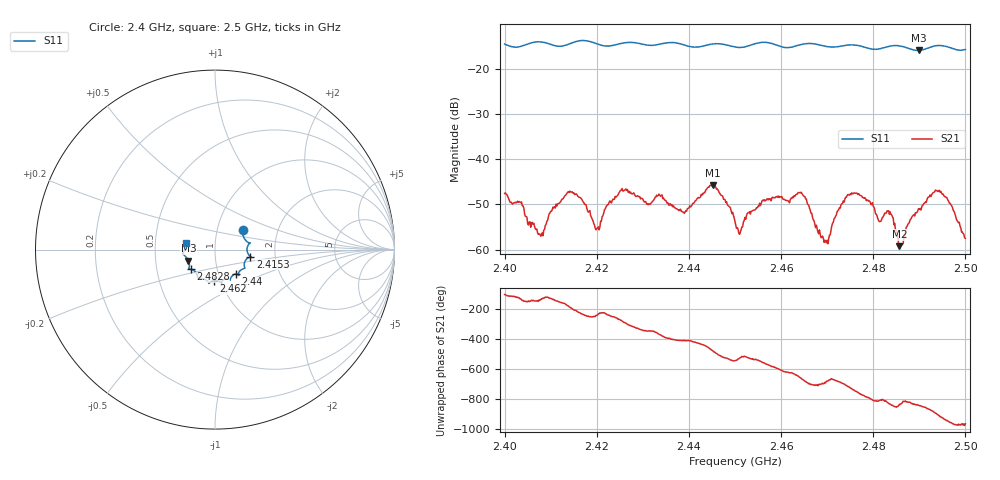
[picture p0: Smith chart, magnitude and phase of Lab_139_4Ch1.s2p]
# Hz S RI R 50
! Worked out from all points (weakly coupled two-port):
!   601 points, 2.4 GHz to 2.5 GHz, reference 50 ohm
!   highest |S21| = -45.72 dB at 2.4452 GHz (marker M1); lowest = -59.2 dB at 2.4857 GHz (marker M2)
!   lowest |S11| = -15.9 dB at 2.4898 GHz (marker M3), VSWR 1.38, Z = 36.9 - j4.62 ohm
!   |S11| at or under -10 dB: start of sweep to end of sweep
!   S12 and S22 are empty: the file has one direction only
!   S11 on the Smith chart (normalised r, x): 2.4 GHz: 1.33, +0.29; 2.4153 GHz: 1.48, -0.12; 2.44 GHz: 1.21, -0.34; 2.462 GHz: 0.93, -0.33; 2.4828 GHz: 0.74, -0.17; 2.5 GHz: 0.72, +0.06
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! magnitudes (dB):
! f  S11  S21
! 2.4 GHz  -14.5  -47.6
! 2.4078 GHz  -14.0  -57.0
! 2.4103 GHz  -14.7  -51.2
! 2.4153 GHz  -14.0  -47.8
! 2.4167 GHz  -13.7  -48.7
! 2.4202 GHz  -14.5  -55.2
! 2.4253 GHz  -14.3  -46.8
! 2.4333 GHz  -14.6  -48.0
! 2.44 GHz  -15.0  -50.8
! 2.4452 GHz  -14.5  -45.7
! 2.45 GHz  -15.1  -53.8
! 2.462 GHz  -15.2  -48.9
! 2.4643 GHz  -14.6  -47.3
! 2.4667 GHz  -14.4  -52.0
! 2.4698 GHz  -15.0  -58.5
! 2.4748 GHz  -14.7  -47.9
! 2.4828 GHz  -15.2  -51.9
! 2.4833 GHz  -15.0  -51.4
! 2.4857 GHz  -14.9  -59.2
! 2.4898 GHz  -15.9  -50.9
! 2.4943 GHz  -14.8  -46.9
! 2.5 GHz  -15.7  -57.5
